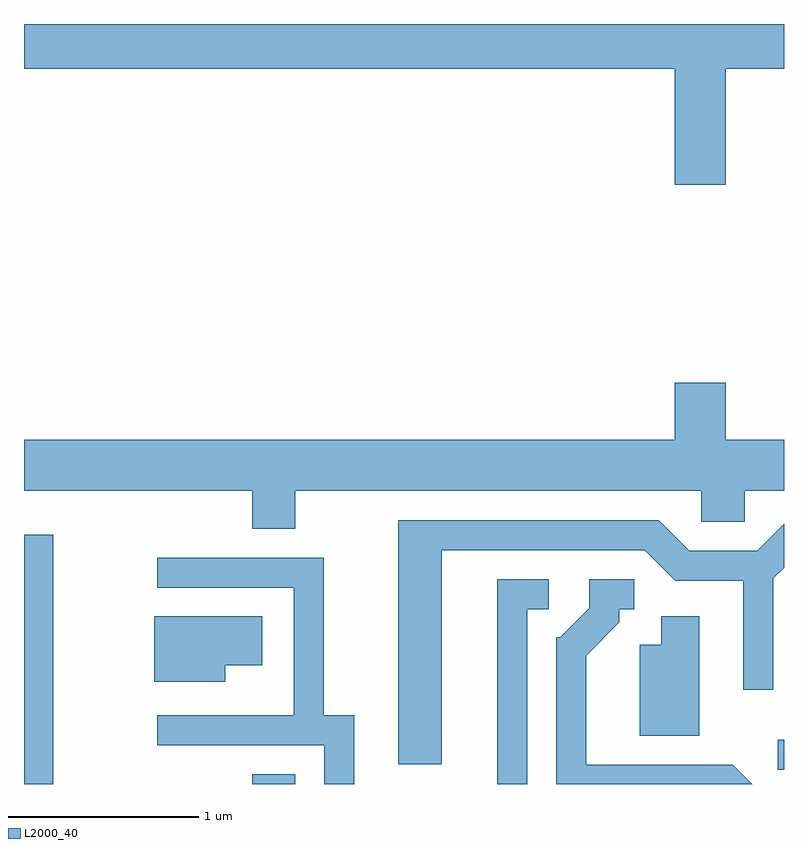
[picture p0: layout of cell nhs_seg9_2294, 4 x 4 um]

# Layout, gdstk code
import gdstk
lib = gdstk.Library(unit=1e-6, precision=1e-09)
def R(c, l, rs):  # rectangles x0, y0, x1, y1
    for r in rs: c.add(gdstk.rectangle(r[:2], r[2:], *l))
def P(c, l, *ps):  # polygons
    for p in ps: c.add(gdstk.Polygon(p, *l))
L2000_40 = (2000, 40)

nhs_seg9_2294 = lib.new_cell('nhs_seg9_2294')
R(nhs_seg9_2294, L2000_40, [(251.611,2052.432,251.764,2053.744), (252.811,2052.432,253.039,2052.484), (255.578,2052.506,255.611,2052.664)])
P(nhs_seg9_2294, L2000_40, [(255.304,2056.196),(255.611,2056.196),(255.611,2056.432),(251.611,2056.432),(251.611,2056.196),(255.036,2056.196),(255.036,2055.586),(255.304,2055.586)],
  [(253.039,2053.976),(255.176,2053.976),(255.176,2053.811),(255.404,2053.811),(255.404,2053.976),(255.611,2053.976),(255.611,2054.244),(255.304,2054.244),(255.304,2054.544),(255.036,2054.544),(255.036,2054.244),(251.611,2054.244),(251.611,2053.976),(252.811,2053.976),(252.811,2053.776),(253.039,2053.776)],
  [(253.809,2053.661),(254.879,2053.661),(255.039,2053.501),(255.396,2053.501),(255.396,2052.928),(255.554,2052.928),(255.554,2053.514),(255.611,2053.571),(255.611,2053.801),(255.469,2053.659),(255.112,2053.659),(254.952,2053.819),(253.581,2053.819),(253.581,2052.536),(253.809,2052.536)],
  [(253.349,2052.794),(253.189,2052.794),(253.189,2053.624),(252.313,2053.624),(252.313,2053.466),(253.031,2053.466),(253.031,2052.794),(252.313,2052.794),(252.313,2052.636),(253.191,2052.636),(253.191,2052.432),(253.349,2052.432)],
  [(254.259,2053.351),(254.373,2053.351),(254.373,2053.509),(254.101,2053.509),(254.101,2052.432),(254.259,2052.432)],
  [(255.342,2052.534),(254.569,2052.534),(254.569,2053.108),(254.744,2053.284),(254.744,2053.351),(254.823,2053.351),(254.823,2053.509),(254.586,2053.509),(254.586,2053.356),(254.434,2053.204),(254.411,2053.204),(254.411,2052.432),(255.444,2052.432)],
  [(252.669,2053.056),(252.864,2053.056),(252.864,2053.314),(252.296,2053.314),(252.296,2052.971),(252.669,2052.971)],
  [(255.164,2053.314),(254.966,2053.314),(254.966,2053.164),(254.851,2053.164),(254.851,2052.686),(255.164,2052.686)])

lib.write_gds('nhs_seg9_2294.gds')
